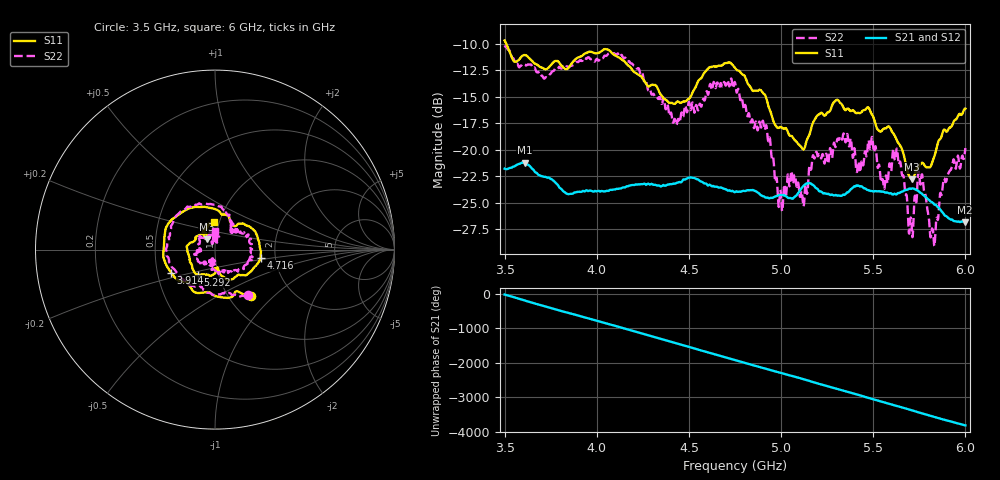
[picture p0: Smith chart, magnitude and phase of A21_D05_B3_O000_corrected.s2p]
! Created with skrf 1.9.0 (http://scikit-rf.org).
# Hz S RI R 50.0
!freq ReS11 ImS11 ReS21 ImS21 ReS12 ImS12 ReS22 ImS22
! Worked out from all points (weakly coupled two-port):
!   1601 points, 3.5 GHz to 6 GHz, reference 50 ohm
!   highest |S21| = -21.21 dB at 3.609 GHz (marker M1); lowest = -26.8 dB at 5.995 GHz (marker M2)
!   lowest |S11| = -22.8 dB at 5.711 GHz (marker M3), VSWR 1.16, Z = 45.4 + j5.13 ohm
!   |S11| at or under -10 dB: 3.509 GHz to end of sweep
!   |S22| runs from -29.1 to -10.1 dB; largest |S21 - S12| = 0.001
!   S11 on the Smith chart (normalised r, x): 3.5 GHz: 1.27, -0.73; 3.914 GHz: 0.59, -0.16; 4.716 GHz: 1.67, -0.16; 5.292 GHz: 0.80, -0.23; 6 GHz: 0.94, +0.30
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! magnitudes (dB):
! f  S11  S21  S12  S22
! 3.5 GHz  -9.7  -21.8  -21.8  -10.1
! 3.609 GHz  -11.1  -21.2  -21.2  -12.0
! 3.914 GHz  -11.2  -24.0  -23.9  -11.6
! 3.917 GHz  -11.2  -24.0  -23.9  -11.6
! 4.125 GHz  -11.3  -23.6  -23.6  -11.2
! 4.334 GHz  -14.4  -23.4  -23.3  -15.2
! 4.439 GHz  -15.4  -23.1  -23.1  -17.1
! 4.716 GHz  -11.8  -23.8  -23.9  -13.8
! 4.75 GHz  -12.3  -24.0  -23.9  -13.6
! 4.912 GHz  -14.8  -24.5  -24.4  -18.1
! 4.997 GHz  -17.8  -24.3  -24.2  -23.8
! 5.13 GHz  -19.7  -23.3  -23.3  -23.7
! 5.167 GHz  -17.7  -23.3  -23.2  -21.3
! 5.292 GHz  -15.4  -24.3  -24.3  -19.6
! 5.584 GHz  -17.8  -24.1  -24.1  -21.9
! 5.636 GHz  -19.3  -24.1  -24.0  -21.1
! 5.711 GHz  -22.8  -23.6  -23.6  -28.0
! 5.755 GHz  -21.4  -24.0  -24.0  -23.1
! 5.825 GHz  -20.9  -25.0  -25.0  -27.7
! 5.888 GHz  -18.1  -26.2  -26.1  -22.8
! 5.995 GHz  -16.1  -26.8  -26.8  -20.5
! 6 GHz  -16.1  -26.8  -26.8  -19.8
